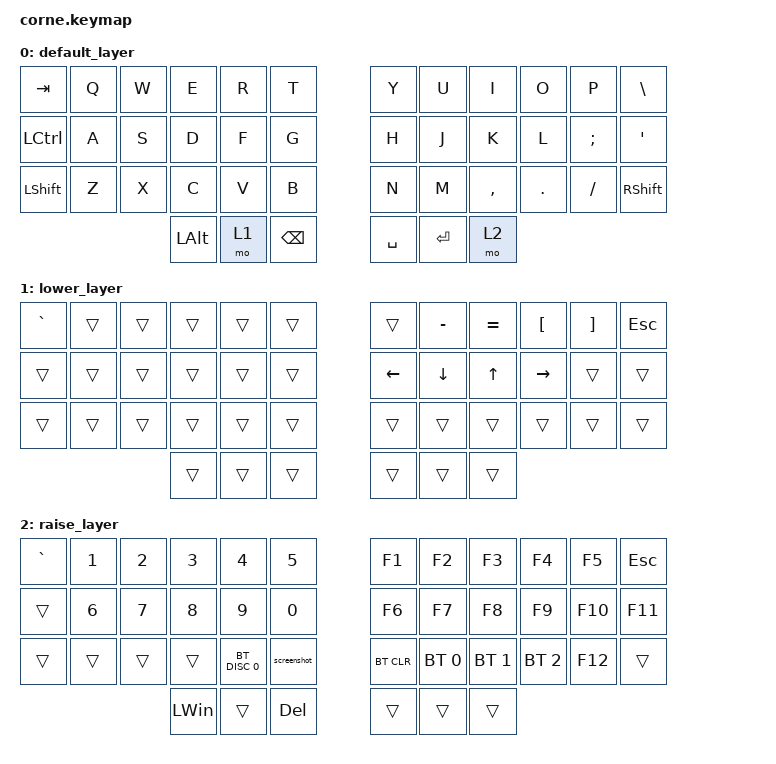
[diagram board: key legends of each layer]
/*
 * Copyright (c) 2020 The ZMK Contributors
 *
 * SPDX-License-Identifier: MIT
 */

#include <behaviors.dtsi>
#include <dt-bindings/zmk/bt.h>
#include <dt-bindings/zmk/keys.h>

/ {
    macros {
        screenshot: screenshot {
            compatible = "zmk,behavior-macro";
            label = "SCREENSHOT";
            #binding-cells = <0>;
            bindings = <&kp LG(LS(S))>;
        };
    };

    keymap {
        compatible = "zmk,keymap";

        default_layer {
            // -----------------------------------------------------------------------------------------
            // |  TAB |  Q  |  W  |  E  |  R  |  T  |   |  Y  |  U   |  I  |  O  |  P  | BKSP |
            // | CTRL |  A  |  S  |  D  |  F  |  G  |   |  H  |  J   |  K  |  L  |  ;  |  '   |
            // | SHFT |  Z  |  X  |  C  |  V  |  B  |   |  N  |  M   |  ,  |  .  |  /  | ESC  |
            //                    | GUI | LWR | SPC |   | ENT | RSE  | ALT |

            bindings = <
&kp TAB    &kp Q  &kp W  &kp E         &kp R  &kp T            &kp Y      &kp U      &kp I      &kp O    &kp P     &kp BACKSLASH
&kp LCTRL  &kp A  &kp S  &kp D         &kp F  &kp G            &kp H      &kp J      &kp K      &kp L    &kp SEMI  &kp SQT
&kp LSHFT  &kp Z  &kp X  &kp C         &kp V  &kp B            &kp N      &kp M      &kp COMMA  &kp DOT  &kp FSLH  &kp RIGHT_SHIFT
                         &kp LEFT_ALT  &mo 1  &kp BACKSPACE    &kp SPACE  &kp ENTER  &mo 2
            >;
        };

        lower_layer {
            // -----------------------------------------------------------------------------------------
            // |  TAB |  1  |  2  |  3  |  4  |  5  |   |  6  |  7  |  8  |  9  |  0  | BKSP |
            // | BTCLR| BT1 | BT2 | BT3 | BT4 | BT5 |   | LFT | DWN |  UP | RGT |     |      |
            // | SHFT |     |     |     |     |     |   |     |     |     |     |     |      |
            //                    | GUI |     | SPC |   | ENT |     | ALT |

            bindings = <
&kp GRAVE  &trans  &trans  &trans  &trans  &trans    &trans    &kp MINUS  &kp EQUAL  &kp LEFT_BRACKET  &kp RIGHT_BRACKET  &kp ESCAPE
&trans     &trans  &trans  &trans  &trans  &trans    &kp LEFT  &kp DOWN   &kp UP     &kp RIGHT         &trans             &trans
&trans     &trans  &trans  &trans  &trans  &trans    &trans    &trans     &trans     &trans            &trans             &trans
                           &trans  &trans  &trans    &trans    &trans     &trans
            >;
        };

        raise_layer {
            // -----------------------------------------------------------------------------------------
            // |  TAB |  !  |  @  |  #  |  $  |  %  |   |  ^  |  &  |  *  |  (  |  )  | BKSP |
            // | CTRL |     |     |     |     |     |   |  -  |  =  |  [  |  ]  |  \  |  `   |
            // | SHFT |     |     |     |     |     |   |  _  |  +  |  {  |  }  | "|" |  ~   |
            //                    | GUI |     | SPC |   | ENT |     | ALT |

            bindings = <
&kp GRAVE  &kp NUMBER_1  &kp NUMBER_2  &kp NUMBER_3  &kp NUMBER_4   &kp NUMBER_5    &kp F1      &kp F2        &kp F3        &kp F4        &kp F5   &kp ESCAPE
&trans     &kp NUMBER_6  &kp NUMBER_7  &kp NUMBER_8  &kp NUMBER_9   &kp NUMBER_0    &kp F6      &kp F7        &kp F8        &kp F9        &kp F10  &kp F11
&trans     &trans        &trans        &trans        &bt BT_DISC 0  &screenshot     &bt BT_CLR  &bt BT_SEL 0  &bt BT_SEL 1  &bt BT_SEL 2  &kp F12  &trans
                                       &kp LEFT_WIN  &trans         &kp DEL         &trans      &trans        &trans
            >;
        };
    };
};
